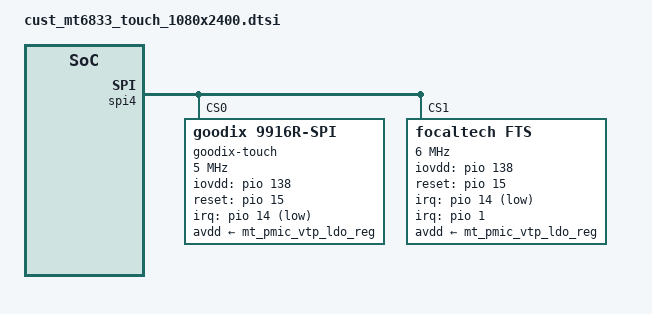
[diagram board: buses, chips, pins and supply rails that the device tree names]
/* SPDX-License-Identifier: GPL-2.0 */
/*
 * Copyright (c) 2019 MediaTek Inc.
*/

/* TOUCH start */
&spi4 {
	/* N17 code for HQ-291634 by liunianliang at 2023/5/26 start */
	mediatek,pad-select = <0>,<1>;
	/* N17 code for HQ-291634 by liunianliang at 2023/5/26 end */

	goodix-touch@0 {
		compatible = "goodix,9916r-spi";
		reg = <0>;
		status = "ok";
		/*N17 code for HQ-292221 by gaoxue at 2023/4/19 start*/
		spi-max-frequency = <5000000>;
		/*N17 code for HQ-292221 by gaoxue at 2023/4/19 end*/
		goodix,avdd-name = "avdd";
		avdd-supply = <&mt_pmic_vtp_ldo_reg>;
		goodix,iovdd-name = "iovdd";
		goodix,iovdd-gpio = <&pio 138 0x00>;
		goodix,reset-gpio = <&pio 15 0x0>;
		goodix,irq-gpio = <&pio 14 0x2001>;
		goodix,irq-flags = <2>; /* 1:trigger rising, 2:trigger falling; */
/* N17 code for HQ-305170 by jiangyue at 2023/7/7 start */
		goodix,panel-max-x = <17280>;
		goodix,panel-max-y = <38400>;
/* N17 code for HQ-305170 by jiangyue at 2023/7/7 end */
		goodix,panel-max-w = <255>;
		/* optional properties */
		goodix,panel-max-p = <4096>; /* max pressure that pen device supported */
		//goodix,pen-enable; /* support active stylus device*/
/* N17 code for HQ-308632 by p-zhangzhijian5 at 2023/7/28 start */
		goodix,sleep-enable; /* enter sleep mode */
/* N17 code for HQ-308632 by p-zhangzhijian5 at 2023/7/28 end */
		goodix,firmware-name = "gt9916r_ts_fw_tm.bin";
		goodix,config-name = "goodix_cfg_group.bin";
/* N17 code for HQ-296762 by jiangyue at 2023/6/2 start */
		goodix,touch-expert-array = <2 3 2 2
					4 3 3 2
					3 3 4 2>;
/* N17 code for HQ-296762 by jiangyue at 2023/6/2 end */
	};

	/* N17 code for HQ-291634 by liunianliang at 2023/5/26 start */
	focaltech@0 {
		compatible = "focaltech,fts";
		reg = <1>;
		status = "ok";
		spi-max-frequency = <6000000>;
		interrupt-parent = <&pio>;
		interrupts = <1 0x2>;
		focaltech,avdd-name = "avdd";
		avdd-supply = <&mt_pmic_vtp_ldo_reg>;
		focaltech,iovdd-name = "iovdd";
		focaltech,iovdd-gpio = <&pio 138 0x00>;
		focaltech,reset-gpio =  <&pio 15 0x00>;
		focaltech,irq-gpio = <&pio 14 0x2001>;
		focaltech,max-touch-number = <10>;
		/* N17 code for HQ-305170 by liunianliang at 2023/07/08 start */
		focaltech,display-coords =  <0 0 17280 38400>;
		/* N17 code for HQ-305170 by liunianliang at 2023/07/08 end */
		/* N17 code for HQ-299546 by liunianliang at 2023/6/13 start */
		focaltech,touch-range-array = <1 5 10 15 20>;
		focaltech,touch-def-array = <3 3 3 3>;
		focaltech,touch-expert-array = <10 10 10 10
						 20 20 15 10
						 20 20 20 10>;
		/* N17 code for HQ-299546 by liunianliang at 2023/6/13 end */
	};
	/* N17 code for HQ-291634 by liunianliang at 2023/5/26 end */
};
